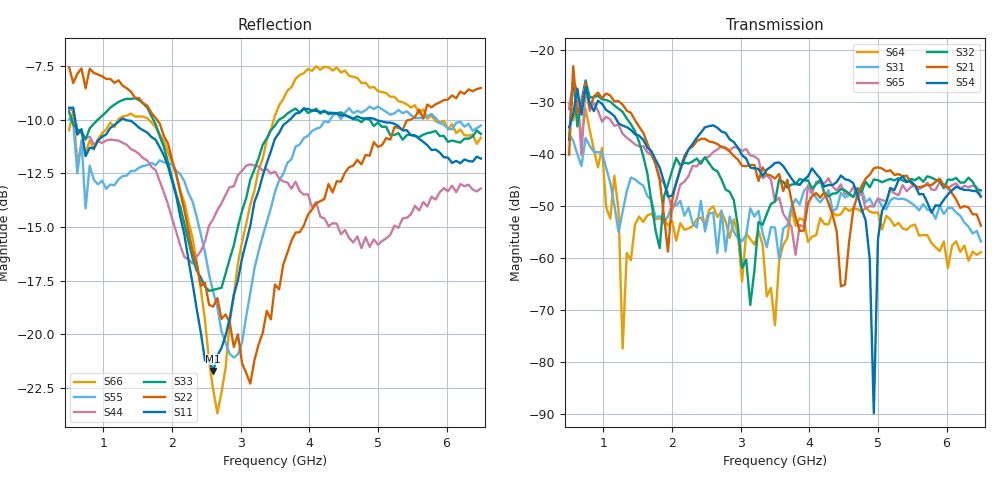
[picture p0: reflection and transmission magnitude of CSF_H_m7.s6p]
!Keysight Technologies,M9804A,MY58100912,A.14.10.03
!Date: Thursday, April 27, 2023 10:28:33
!Correction: S11(C  6-Port  )
!S12(C  6-Port  )
!S13(C  6-Port  )
!S14(C  6-Port  )
!S15(C  6-Port  )
!S16(C  6-Port  )
!S21(C  6-Port  )
!S22(C  6-Port  )
!S23(C  6-Port  )
!S24(C  6-Port  )
!S25(C  6-Port  )
!S26(C  6-Port  )
!S31(C  6-Port  )
!S32(C  6-Port  )
!S33(C  6-Port  )
!S34(C  6-Port  )
!S35(C  6-Port  )
!S36(C  6-Port  )
!S41(C  6-Port  )
!S42(C  6-Port  )
!S43(C  6-Port  )
!S44(C  6-Port  )
!S45(C  6-Port  )
!S46(C  6-Port  )
!S51(C  6-Port  )
!S52(C  6-Port  )
!S53(C  6-Port  )
!S54(C  6-Port  )
!S55(C  6-Port  )
!S56(C  6-Port  )
!S61(C  6-Port  )
!S62(C  6-Port  )
!S63(C  6-Port  )
!S64(C  6-Port  )
!S65(C  6-Port  )
!S66(C  6-Port  )
!S6P File: Measurement: :
# Hz S  RI  R 50
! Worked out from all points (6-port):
!   101 points, 500 MHz to 6.5 GHz, reference 50 ohm
!   strongest paths, dB at 500 MHz, 2 GHz, 3.5 GHz, 5 GHz, 6.5 GHz:
!     S54: -34.8, -48.0, -41.7, -56.3, -48.2
!     S21: -40.1, -49.0, -44.7, -42.5, -53.7
!     S32: -37.2, -43.2, -49.1, -45.0, -46.9
!     S65: -31.3, -50.8, -49.1, -48.5, -48.0
!     S31: -36.1, -49.7, -54.1, -48.5, -56.8
!     S64: -30.2, -52.8, -72.9, -51.2, -58.8
!   lowest |S11| = -21.7 dB at 2.6 GHz (marker M1), VSWR 1.18, Z = 42.6 + j1.98 ohm
!   |S11| at or under -10 dB: 586.5 MHz to 1.259 GHz (672.6 MHz wide, 72.9 % of centre); 1.316 GHz to 3.717 GHz (2.401 GHz wide, 95.4 % of centre); 4.969 GHz to end of sweep
